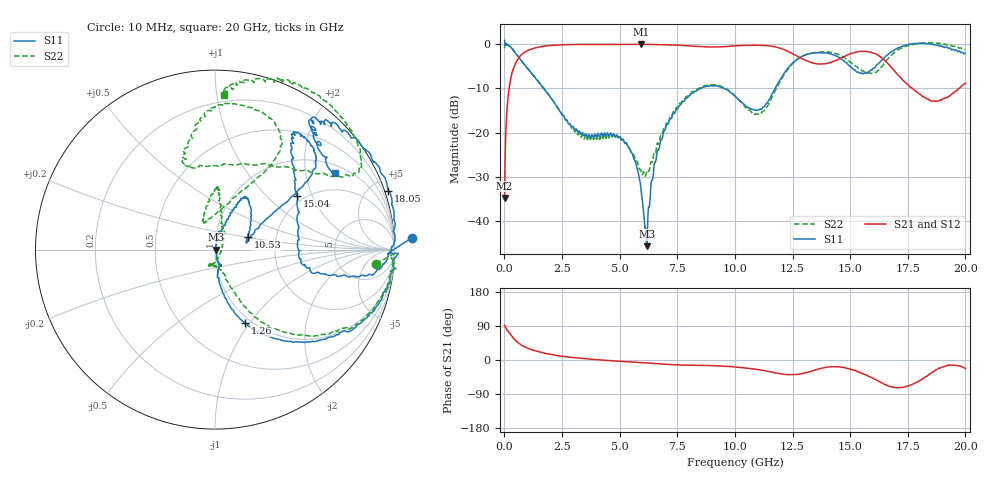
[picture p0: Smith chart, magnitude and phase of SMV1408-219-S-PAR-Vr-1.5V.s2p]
! Skyworks SMV1408-219 De-embedded S-Parameter Data
! Created  11-5-2013
! 2 Port Network Data
! Mounted on Board # SK41159-3 Rev 1 in Series, Cathode is connected to RF1 as Input( Pin 1) and Anode is connected RF2 as Output(Pin 2)
! Temperature = +25 °C
! RF traces and connectors are de-embedded using TRL calibration and standards
! Reference planes are package pins
! Pin 1 Input port (S-Port1), Pin 2 Output port (S-port2)
! Pin = 0 dBm, Bias: Vr = 1.5V
! Dev # 1
#  HZ  S  DB  R  50.00
! Rohde & Schwarz ZVA24 4Ports - Version 2.90 - 1145.1110k26 SN: 100216
! Date: 2013-11-05 15:26:12
! Measurements: S11 S21 S12 S22
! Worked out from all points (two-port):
!   2000 points, 10 MHz to 20 GHz, reference 50 ohm
!   highest |S21| = -0.05 dB at 5.92 GHz (marker M1); lowest = -34.7 dB at 10 MHz (marker M2)
!   |S21| within 3 dB of the highest: 634.2 MHz to 12.83 GHz (12.19 GHz wide, 181 % of centre); 14.65 GHz to 16.36 GHz (1.715 GHz wide, 11.1 % of centre)
!   lowest |S11| = -45.7 dB at 6.18 GHz (marker M3), VSWR 1.01, Z = 50.5 + j0.0457 ohm
!   |S11| at or under -10 dB: 1.701 GHz to 8.515 GHz (6.814 GHz wide, 133 % of centre); 9.521 GHz to 11.75 GHz (2.226 GHz wide, 20.9 % of centre)
!   |S22| runs from -29.9 to 0.3 dB; largest |S21 - S12| = 0.034
!   S11 on the Smith chart (normalised r, x): 10 MHz: -15, +10; 1.26 GHz: 0.93, -0.95; 10.53 GHz: 1.43, +0.21; 15.04 GHz: 1.82, +1.55; 18.05 GHz: -0.38, +6.03; 20 GHz: 1.28, +2.91
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1e7  0.82 3.5  -34.74 91.3  -35.83 80.8  -0.92 -5.1
1.5e8  -0.19 -13.9  -12.55 76.8  -12.56 76.4  -0.17 -13.7
3.2e8  -0.97 -28.1  -6.77 63.4  -6.76 63.4  -0.89 -27.2
1.26e9  -7.10 -67.9  -0.97 25.6  -0.97 25.7  -7.08 -59.1
3.35e9  -20.32 -75.7  -0.07 4.2  -0.07 4.1  -20.83 -90.4
5.09e9  -21.64 -74.7  -0.07 -3.6  -0.08 -3.6  -21.69 -98.8
5.92e9  -32.35 -73.6  -0.05 -6.8  -0.07 -6.6  -28.56 -45.8
6.18e9  -45.66 5.0  -0.07 -7.5  -0.07 -8.0  -28.73 -8.1
6.68e9  -23.92 78.8  -0.09 -9.9  -0.10 -9.8  -22.53 53.3
8.19e9  -11.05 63.6  -0.46 -14.0  -0.47 -14.1  -10.71 86.2
1.001e10  -11.80 38.7  -0.40 -18.3  -0.40 -18.3  -11.78 99.3
1.053e10  -14.14 21.2  -0.27 -21.6  -0.29 -21.5  -14.46 110.1
1.12e10  -14.35 14.8  -0.28 -27.1  -0.29 -26.9  -15.19 102.4
1.213e10  -6.64 33.4  -1.24 -37.9  -1.25 -37.7  -6.99 59.9
1.334e10  -2.05 46.3  -4.20 -29.0  -4.20 -28.6  -1.99 67.8
1.423e10  -2.37 55.1  -4.00 -17.8  -4.00 -17.5  -1.91 89.4
1.504e10  -5.27 33.4  -2.15 -24.9  -2.15 -24.5  -4.16 103.9
1.578e10  -6.35 -6.9  -1.72 -42.3  -1.72 -42.1  -6.58 101.4
1.667e10  -2.19 -11.1  -4.57 -68.5  -4.57 -68.6  -3.20 38.2
1.805e10  0.18 18.8  -11.42 -53.3  -11.41 -52.9  0.16 45.2
1.891e10  -0.46 46.9  -12.65 -21.2  -12.65 -20.3  0.06 68.3
2e10  -2.03 32.6  -8.83 -22.5  -8.83 -21.9  -1.30 86.5
